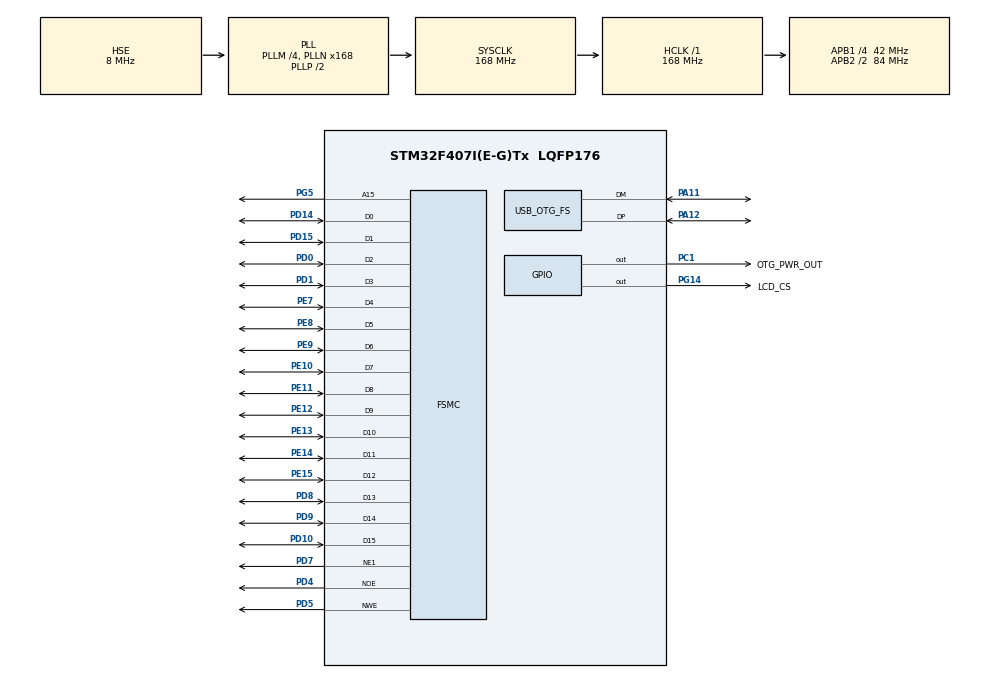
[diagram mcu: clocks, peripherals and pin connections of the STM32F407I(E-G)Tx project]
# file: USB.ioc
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FATFS._USE_LFN=3
FSMC.AddressSetupTime1=4
FSMC.BusTurnAroundDuration1=0
FSMC.DataSetupTime1=40
Mcu.Family=STM32F4
Mcu.Name=STM32F407I(E-G)Tx
Mcu.Package=LQFP176
NVIC.OTG_FS_IRQn=true\:0\:0\:false\:false\:true
NVIC.PriorityGroup=NVIC_PRIORITYGROUP_4
PA11.Mode=Host_Only
PA11.Signal=USB_OTG_FS_DM
PA12.GPIO_PuPd=GPIO_PULLUP
PA12.Mode=Host_Only
PA12.Signal=USB_OTG_FS_DP
PC1.GPIO_Label=OTG_PWR_OUT
PC1.Signal=GPIO_Output
PD0.Signal=FSMC_D2_DA2
PD1.Signal=FSMC_D3_DA3
PD10.Signal=FSMC_D15_DA15
PD14.Signal=FSMC_D0_DA0
PD15.Signal=FSMC_D1_DA1
PD4.Signal=FSMC_NOE
PD5.Signal=FSMC_NWE
PD7.Mode=NorPsramChipSelect1_1
PD7.Signal=FSMC_NE1
PD8.Signal=FSMC_D13_DA13
PD9.Signal=FSMC_D14_DA14
PE10.Signal=FSMC_D7_DA7
PE11.Signal=FSMC_D8_DA8
PE12.Signal=FSMC_D9_DA9
PE13.Signal=FSMC_D10_DA10
PE14.Signal=FSMC_D11_DA11
PE15.Signal=FSMC_D12_DA12
PE7.Signal=FSMC_D4_DA4
PE8.Signal=FSMC_D5_DA5
PE9.Signal=FSMC_D6_DA6
PG14.GPIO_Label=LCD_CS
PG14.Signal=GPIO_Output
PG5.Signal=FSMC_A15
PH0-OSC_IN.Mode=HSE-External-Oscillator
PH0-OSC_IN.Signal=RCC_OSC_IN
PH1-OSC_OUT.Mode=HSE-External-Oscillator
PH1-OSC_OUT.Signal=RCC_OSC_OUT
ProjectManager.HeapSize=0x1000
ProjectManager.StackSize=0x2000
ProjectManager.TargetToolchain=MDK-ARM V5
RCC.48MHZClocksFreq_Value=48000000
RCC.AHBFreq_Value=168000000
RCC.APB1CLKDivider=RCC_HCLK_DIV4
RCC.APB1Freq_Value=42000000
RCC.APB1TimFreq_Value=84000000
RCC.APB2CLKDivider=RCC_HCLK_DIV2
RCC.APB2Freq_Value=84000000
RCC.APB2TimFreq_Value=168000000
RCC.CortexFreq_Value=168000000
RCC.HCLKFreq_Value=168000000
RCC.HSE_VALUE=8000000
RCC.HSI_VALUE=16000000
RCC.LSE_VALUE=32768
RCC.PLLM=4
RCC.PLLN=168
RCC.PLLQ=7
RCC.SYSCLKFreq_VALUE=168000000
RCC.SYSCLKSource=RCC_SYSCLKSOURCE_PLLCLK
RCC.VCOOutputFreq_Value=336000000
SH.FSMC_A15.0=FSMC_A15,A15_1
SH.FSMC_D0_DA0.0=FSMC_D0,16b-d1
SH.FSMC_D10_DA10.0=FSMC_D10,16b-d1
SH.FSMC_D11_DA11.0=FSMC_D11,16b-d1
SH.FSMC_D12_DA12.0=FSMC_D12,16b-d1
SH.FSMC_D13_DA13.0=FSMC_D13,16b-d1
SH.FSMC_D14_DA14.0=FSMC_D14,16b-d1
SH.FSMC_D15_DA15.0=FSMC_D15,16b-d1
SH.FSMC_D1_DA1.0=FSMC_D1,16b-d1
SH.FSMC_D2_DA2.0=FSMC_D2,16b-d1
SH.FSMC_D3_DA3.0=FSMC_D3,16b-d1
SH.FSMC_D4_DA4.0=FSMC_D4,16b-d1
SH.FSMC_D5_DA5.0=FSMC_D5,16b-d1
SH.FSMC_D6_DA6.0=FSMC_D6,16b-d1
SH.FSMC_D7_DA7.0=FSMC_D7,16b-d1
SH.FSMC_D8_DA8.0=FSMC_D8,16b-d1
SH.FSMC_D9_DA9.0=FSMC_D9,16b-d1
SH.FSMC_NOE.0=FSMC_NOE,Lcd1
SH.FSMC_NWE.0=FSMC_NWE,Lcd1
USB_HOST.USBH_DEBUG_LEVEL-MSC_FS=3
USB_HOST.USBH_HandleTypeDef-MSC_FS=hUsbHostFS
USB_HOST.VirtualModeFS=Msc
USB_OTG_FS.phy_itface=HCD_PHY_EMBEDDED
VP_FATFS_VS_USB.Mode=USB
VP_USB_HOST_VS_USB_HOST_MSC_FS.Mode=MSC_FS
board=USB

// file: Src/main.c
/**
  ******************************************************************************
  * File Name          : main.c
  * Description        : Main program body
  ******************************************************************************
  *
  * Copyright (c) 2017 STMicroelectronics International N.V.
  * All rights reserved.
  *
  * Redistribution and use in source and binary forms, with or without
  * modification, are permitted, provided that the following conditions are met:
  *
  * 1. Redistribution of source code must retain the above copyright notice,
  *    this list of conditions and the following disclaimer.
  * 2. Redistributions in binary form must reproduce the above copyright notice,
  *    this list of conditions and the following disclaimer in the documentation
  *    and/or other materials provided with the distribution.
  * 3. Neither the name of STMicroelectronics nor the names of other
  *    contributors to this software may be used to endorse or promote products
  *    derived from this software without specific written permission.
  * 4. This software, including modifications and/or derivative works of this
  *    software, must execute solely and exclusively on microcontroller or
  *    microprocessor devices manufactured by or for STMicroelectronics.
  * 5. Redistribution and use of this software other than as permitted under
  *    this license is void and will automatically terminate your rights under
  *    this license.
  *
  * THIS SOFTWARE IS PROVIDED BY STMICROELECTRONICS AND CONTRIBUTORS "AS IS"
  * AND ANY EXPRESS, IMPLIED OR STATUTORY WARRANTIES, INCLUDING, BUT NOT
  * LIMITED TO, THE IMPLIED WARRANTIES OF MERCHANTABILITY, FITNESS FOR A
  * PARTICULAR PURPOSE AND NON-INFRINGEMENT OF THIRD PARTY INTELLECTUAL PROPERTY
  * RIGHTS ARE DISCLAIMED TO THE FULLEST EXTENT PERMITTED BY LAW. IN NO EVENT
  * SHALL STMICROELECTRONICS OR CONTRIBUTORS BE LIABLE FOR ANY DIRECT, INDIRECT,
  * INCIDENTAL, SPECIAL, EXEMPLARY, OR CONSEQUENTIAL DAMAGES (INCLUDING, BUT NOT
  * LIMITED TO, PROCUREMENT OF SUBSTITUTE GOODS OR SERVICES; LOSS OF USE, DATA,
  * OR PROFITS; OR BUSINESS INTERRUPTION) HOWEVER CAUSED AND ON ANY THEORY OF
  * LIABILITY, WHETHER IN CONTRACT, STRICT LIABILITY, OR TORT (INCLUDING
  * NEGLIGENCE OR OTHERWISE) ARISING IN ANY WAY OUT OF THE USE OF THIS SOFTWARE,
  * EVEN IF ADVISED OF THE POSSIBILITY OF SUCH DAMAGE.
  *
  ******************************************************************************
  */
#include "main.h"
#include "stm32f4xx_hal.h"
#include "fatfs.h"
#include "usb_host.h"
#include "gpio.h"
#include "fsmc.h"

/* USER CODE BEGIN Includes */
#include "stm32_lcd_bsp.h"
#include "lcd_log.h"
/* USER CODE END Includes */

/* USER CODE BEGIN PV */
/* Private variables ---------------------------------------------------------*/
FATFS USBDISKFatFs;           /* File system object for USB disk logical drive */
FIL MyFile;                   /* File object */
extern ApplicationTypeDef Appli_state;
extern USBH_HandleTypeDef hUsbHostFS;
/* USER CODE END PV */

void SystemClock_Config(void);
void Error_Handler(void);
void MX_USB_HOST_Process(void);

/* USER CODE BEGIN PFP */
/* Private function prototypes -----------------------------------------------*/
void MSC_Application(void);
/* USER CODE END PFP */

int main(void)
{

  /* MCU Configuration----------------------------------------------------------*/

  /* Reset of all peripherals, Initializes the Flash interface and the Systick. */
  HAL_Init();

  /* Configure the system clock */
  SystemClock_Config();

  /* Initialize all configured peripherals */
  MX_GPIO_Init();
  MX_FSMC_Init();
  MX_FATFS_Init();
  MX_USB_HOST_Init();

  /* USER CODE BEGIN 2 */
  BSP_LCD_Init();
  /* Initialize LCD Log module */
  LCD_LOG_Init();
  /* Show Header and Footer texts */
  LCD_LOG_SetHeader((uint8_t *)"FatFs USB Disk Example");
  LCD_LOG_SetFooter((uint8_t *)"Copyright(c) Waveshare");
  /* USER CODE END 2 */

  /* Infinite loop */
  while (1)
  {
    MX_USB_HOST_Process();

  /* USER CODE BEGIN 3 */
    /* Mass Storage Application State Machine */
    switch(Appli_state)
    {
      /**
        * The generated code from STM32CubeMX has two "confusing" application states
        * APPLICATION_START on HOST_USER_CONNECTION and APPLICATION_READY on HOST_USER_CLASS_ACTIVE.
        * Any FatFs commands should be executed after APPLICATION_STATE_READY is reached."
        */
      case APPLICATION_READY:
        MSC_Application();
        Appli_state = APPLICATION_IDLE;
        break;

      case APPLICATION_IDLE:
      default:
        break;
    }
  }
  /* USER CODE END 3 */

}

/** System Clock Configuration
*/
void SystemClock_Config(void)
{

  RCC_OscInitTypeDef RCC_OscInitStruct;
  RCC_ClkInitTypeDef RCC_ClkInitStruct;

    /**Configure the main internal regulator output voltage
    */
  __HAL_RCC_PWR_CLK_ENABLE();

  __HAL_PWR_VOLTAGESCALING_CONFIG(PWR_REGULATOR_VOLTAGE_SCALE1);

    /**Initializes the CPU, AHB and APB busses clocks
    */
  RCC_OscInitStruct.OscillatorType = RCC_OSCILLATORTYPE_HSE;
  RCC_OscInitStruct.HSEState = RCC_HSE_ON;
  RCC_OscInitStruct.PLL.PLLState = RCC_PLL_ON;
  RCC_OscInitStruct.PLL.PLLSource = RCC_PLLSOURCE_HSE;
  RCC_OscInitStruct.PLL.PLLM = 4;
  RCC_OscInitStruct.PLL.PLLN = 168;
  RCC_OscInitStruct.PLL.PLLP = RCC_PLLP_DIV2;
  RCC_OscInitStruct.PLL.PLLQ = 7;
  if (HAL_RCC_OscConfig(&RCC_OscInitStruct) != HAL_OK)
  {
    Error_Handler();
  }

    /**Initializes the CPU, AHB and APB busses clocks
    */
  RCC_ClkInitStruct.ClockType = RCC_CLOCKTYPE_HCLK|RCC_CLOCKTYPE_SYSCLK
                              |RCC_CLOCKTYPE_PCLK1|RCC_CLOCKTYPE_PCLK2;
  RCC_ClkInitStruct.SYSCLKSource = RCC_SYSCLKSOURCE_PLLCLK;
  RCC_ClkInitStruct.AHBCLKDivider = RCC_SYSCLK_DIV1;
  RCC_ClkInitStruct.APB1CLKDivider = RCC_HCLK_DIV4;
  RCC_ClkInitStruct.APB2CLKDivider = RCC_HCLK_DIV2;

  if (HAL_RCC_ClockConfig(&RCC_ClkInitStruct, FLASH_LATENCY_5) != HAL_OK)
  {
    Error_Handler();
  }

    /**Configure the Systick interrupt time
    */
  HAL_SYSTICK_Config(HAL_RCC_GetHCLKFreq()/1000);

    /**Configure the Systick
    */
  HAL_SYSTICK_CLKSourceConfig(SYSTICK_CLKSOURCE_HCLK);

  /* SysTick_IRQn interrupt configuration */
  HAL_NVIC_SetPriority(SysTick_IRQn, 0, 0);
}

/* USER CODE BEGIN 4 */
/**
  * @brief  Main routine for Mass Storage Class
  * @param  None
  * @retval None
  */
void MSC_Application(void)
{
  /* FatFs function common result code description: */
    /*  FR_OK = 0,                (0) Succeeded */
    /*  FR_DISK_ERR,              (1) A hard error occurred in the low level disk I/O layer */
    /*  FR_INT_ERR,               (2) Assertion failed */
    /*  FR_NOT_READY,             (3) The physical drive cannot work */
    /*  FR_NO_FILE,               (4) Could not find the file */
    /*  FR_NO_PATH,               (5) Could not find the path */
    /*  FR_INVALID_NAME,          (6) The path name format is invalid */
    /*  FR_DENIED,                (7) Access denied due to prohibited access or directory full */
    /*  FR_EXIST,                 (8) Access denied due to prohibited access */
    /*  FR_INVALID_OBJECT,        (9) The file/directory object is invalid */
    /*  FR_WRITE_PROTECTED,       (10) The physical drive is write protected */
    /*  FR_INVALID_DRIVE,         (11) The logical drive number is invalid */
    /*  FR_NOT_ENABLED,           (12) The volume has no work area */
    /*  FR_NO_FILESYSTEM,         (13) There is no valid FAT volume */
    /*  FR_MKFS_ABORTED,          (14) The f_mkfs() aborted due to any parameter error */
    /*  FR_TIMEOUT,               (15) Could not get a grant to access the volume within defined period */
    /*  FR_LOCKED,                (16) The operation is rejected according to thex file sharing policy */
    /*  FR_NOT_ENOUGH_CORE,       (17) LFN working buffer could not be allocated */
    /*  FR_TOO_MANY_OPEN_FILES,   (18) Number of open files > _FS_SHARE */
    /*  FR_INVALID_PARAMETER      (19) Given parameter is invalid */

  FRESULT res;                                          /* FatFs function common result code */
  uint32_t byteswritten, bytesread;                     /* File write/read counts */
  uint8_t wtext[] = "Hello World!";                     /* File write buffer */
  uint8_t rtext[100];                                   /* File read buffer */

  /* Register the file system object to the FatFs module */
  res = f_mount(&USBDISKFatFs, (TCHAR const*)USBH_Path, 0);
  if(res != FR_OK)
  {
    /* FatFs Initialization Error */
    USBH_UsrLog("f_mount error: %d", res);
    Error_Handler();
  }

  USBH_UsrLog("create the file in: %s", USBH_Path);
  /* Create and Open a new text file object with write access */
  res = f_open(&MyFile, "hello.txt", FA_CREATE_ALWAYS | FA_WRITE);
  if(res != FR_OK)
  {
    /* 'hello.txt' file Open for write Error */
    USBH_UsrLog("f_open with write access error: %d", res);
    Error_Handler();
  }
  /* Write data to the text file */
  res = f_write(&MyFile, wtext, sizeof(wtext), (void *)&byteswritten);
  if((byteswritten == 0) || (res != FR_OK))
  {
    /* 'hello.txt' file Write or EOF Error */
    USBH_UsrLog("file write or EOF error: %d", res);
    Error_Handler();
  }

  /* Close the open text file */
  f_close(&MyFile);

  /* Open the text file object with read access */
  res = f_open(&MyFile, "hello.txt", FA_READ);
  if(res != FR_OK)
  {
    /* 'hello.txt' file Open for read Error */
    USBH_UsrLog("f_open with read access error: %d", res);
    Error_Handler();
  }

  /* Read data from the text file */
  res = f_read(&MyFile, rtext, sizeof(rtext), (void *)&bytesread);
  if((bytesread == 0) || (res != FR_OK))
  {
    /* 'hello.txt' file Read or EOF Error */
    USBH_UsrLog("f_read error: %d", res);
    Error_Handler();
  }

  /* Close the open text file */
  f_close(&MyFile);

  /* Compare read data with the expected data */
  if((bytesread != byteswritten))
  {
    /* Read data is different from the expected data */
    USBH_UsrLog("file doesn't match");
    Error_Handler();
  }

  /* Success of the demo: no error occurrence */
  USBH_UsrLog("hello.txt was created into the disk");

  /* Unlink the USB disk I/O driver */
  FATFS_UnLinkDriver(USBH_Path);
}

/* USER CODE END 4 */

void Error_Handler(void)
{
  while(1)
  {
  }
}

/************************ (C) COPYRIGHT STMicroelectronics *****END OF FILE****/
